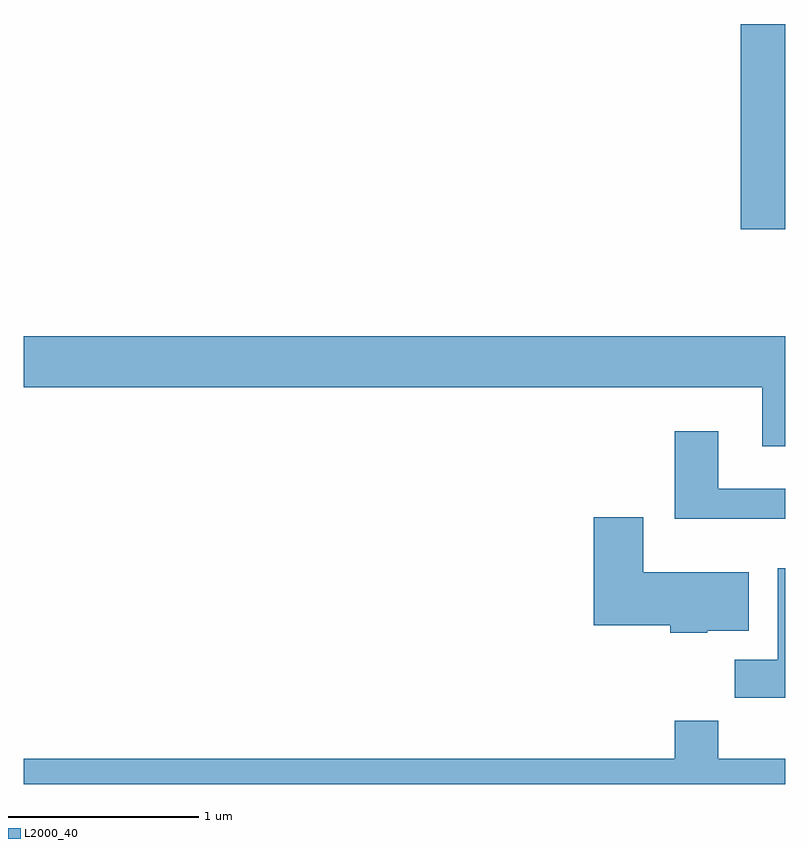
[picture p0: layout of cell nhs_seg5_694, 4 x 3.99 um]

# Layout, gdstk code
import gdstk
lib = gdstk.Library(unit=1e-6, precision=1e-09)
def R(c, l, rs):  # rectangles x0, y0, x1, y1
    for r in rs: c.add(gdstk.rectangle(r[:2], r[2:], *l))
def P(c, l, *ps):  # polygons
    for p in ps: c.add(gdstk.Polygon(p, *l))
L2000_40 = (2000, 40)

nhs_seg5_694 = lib.new_cell('nhs_seg5_694')
R(nhs_seg5_694, L2000_40, [(209.376,1430.986,209.611,1432.064)])
P(nhs_seg5_694, L2000_40, [(209.611,1430.424),(205.611,1430.424),(205.611,1430.156),(209.491,1430.156),(209.491,1429.846),(209.611,1429.846)],
  [(209.611,1429.624),(209.259,1429.624),(209.259,1429.924),(209.031,1429.924),(209.031,1429.466),(209.611,1429.466)],
  [(209.2,1428.876),(209.419,1428.876),(209.419,1429.184),(208.864,1429.184),(208.864,1429.474),(208.606,1429.474),(208.606,1428.906),(209.006,1428.906),(209.006,1428.866),(209.2,1428.866)],
  [(209.611,1429.204),(209.571,1429.204),(209.571,1428.724),(209.346,1428.724),(209.346,1428.526),(209.611,1428.526)],
  [(209.611,1428.204),(209.259,1428.204),(209.259,1428.404),(209.031,1428.404),(209.031,1428.204),(205.611,1428.204),(205.611,1428.072),(209.611,1428.072)])

lib.write_gds('nhs_seg5_694.gds')
